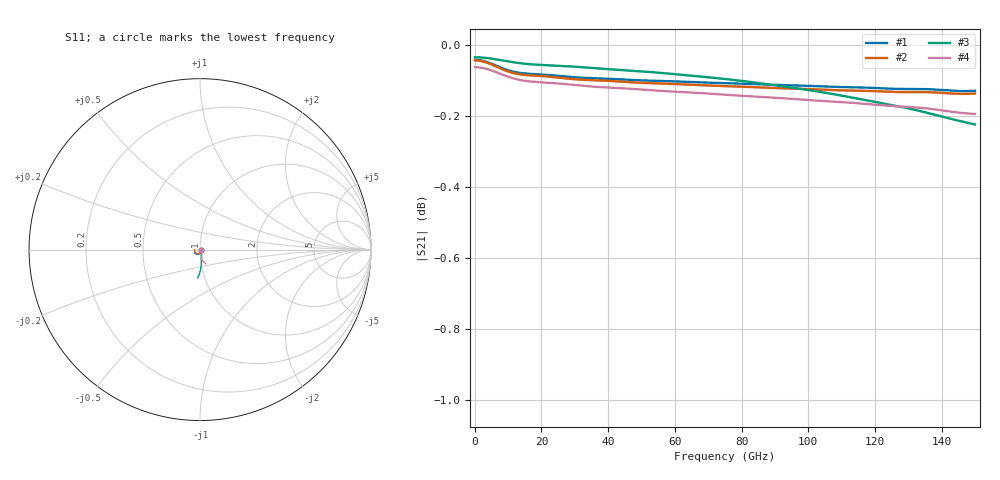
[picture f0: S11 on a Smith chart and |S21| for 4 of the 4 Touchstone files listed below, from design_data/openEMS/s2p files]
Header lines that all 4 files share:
#  Hz  S  RI  R  50
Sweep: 100 MHz to 150 GHz
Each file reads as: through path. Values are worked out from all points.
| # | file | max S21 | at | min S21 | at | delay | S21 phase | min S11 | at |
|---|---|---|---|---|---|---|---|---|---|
| 1 | 254em.s2p | -0.04 dB | 100 MHz | -0.1 dB | 146.4 GHz | 1.68 ps | -46 deg at 75.1 GHz | -45.9 dB | 100 MHz |
| 2 | 272em.s2p | -0.04 dB | 100 MHz | -0.1 dB | 146.4 GHz | 1.78 ps | -48 deg at 75.1 GHz | -45.6 dB | 100 MHz |
| 3 | INPUT.s2p | -0.04 dB | 100 MHz | -0.2 dB | 150 GHz | 1.16 ps | -31 deg at 75.1 GHz | -47.7 dB | 100 MHz |
| 4 | RF_OUT.s2p | -0.06 dB | 100 MHz | -0.2 dB | 150 GHz | 2.02 ps | -55 deg at 75.1 GHz | -42.7 dB | 100 MHz |
